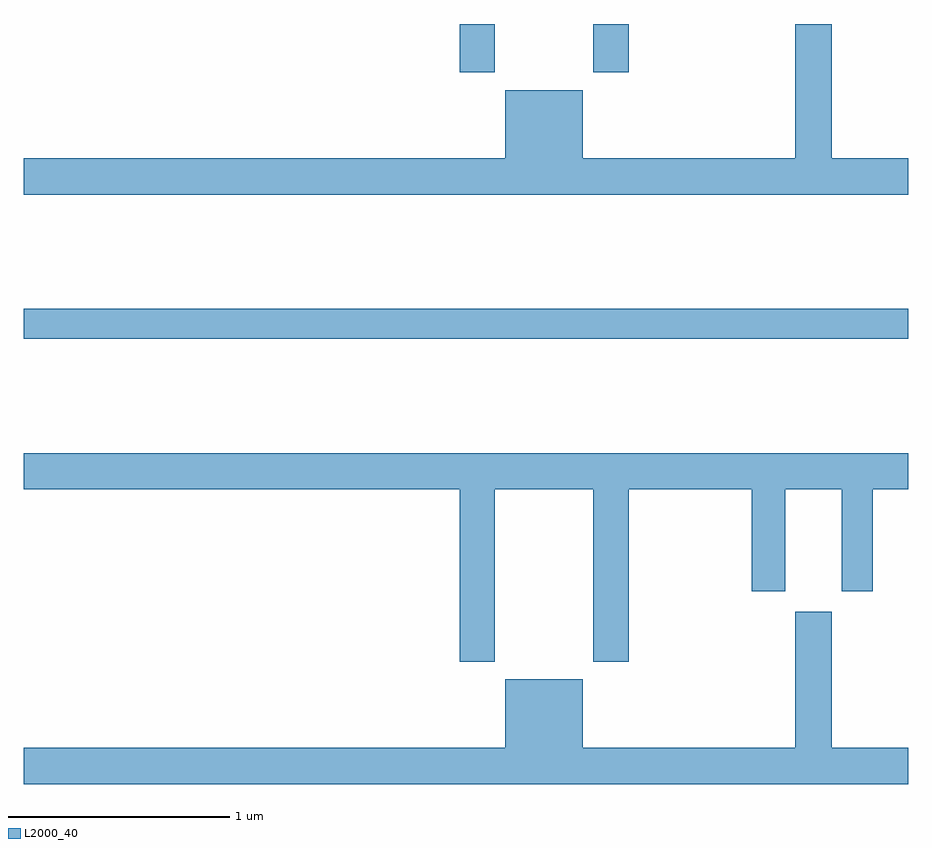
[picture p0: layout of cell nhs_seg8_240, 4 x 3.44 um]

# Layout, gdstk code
import gdstk
lib = gdstk.Library(unit=1e-6, precision=1e-09)
def R(c, l, rs):  # rectangles x0, y0, x1, y1
    for r in rs: c.add(gdstk.rectangle(r[:2], r[2:], *l))
def P(c, l, *ps):  # polygons
    for p in ps: c.add(gdstk.Polygon(p, *l))
L2000_40 = (2000, 40)

nhs_seg8_240 = lib.new_cell('nhs_seg8_240')
R(nhs_seg8_240, L2000_40, [(125,1154.476,129,1154.612), (126.971,1155.681,127.131,1155.9), (127.576,1155.681,127.736,1155.9)])
P(nhs_seg8_240, L2000_40, [(129,1155.292),(128.653,1155.292),(128.653,1155.9),(128.489,1155.9),(128.489,1155.292),(127.528,1155.292),(127.528,1155.601),(127.178,1155.601),(127.178,1155.292),(125,1155.292),(125,1155.128),(129,1155.128)],
  [(127.131,1153.796),(127.576,1153.796),(127.576,1153.017),(127.736,1153.017),(127.736,1153.796),(128.291,1153.796),(128.291,1153.335),(128.443,1153.335),(128.443,1153.796),(128.699,1153.796),(128.699,1153.335),(128.839,1153.335),(128.839,1153.796),(129,1153.796),(129,1153.96),(125,1153.96),(125,1153.796),(126.971,1153.796),(126.971,1153.017),(127.131,1153.017)],
  [(129,1152.628),(128.653,1152.628),(128.653,1153.243),(128.489,1153.243),(128.489,1152.628),(127.528,1152.628),(127.528,1152.937),(127.178,1152.937),(127.178,1152.628),(125,1152.628),(125,1152.464),(129,1152.464)])

lib.write_gds('nhs_seg8_240.gds')
